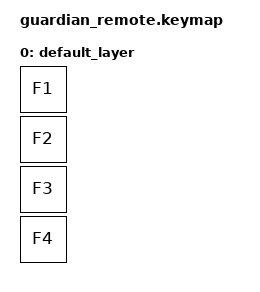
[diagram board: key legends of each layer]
#include <behaviors.dtsi>
#include <dt-bindings/zmk/keys.h>
#include <dt-bindings/zmk/bt.h>
#include <dt-bindings/zmk/outputs.h>

/ {
  keymap {
    compatible = "zmk,keymap";

    default_layer {
      bindings = <
        &kp F1
        &kp F2
        &kp F3
        &kp F4
      >;
    };
  };
};
